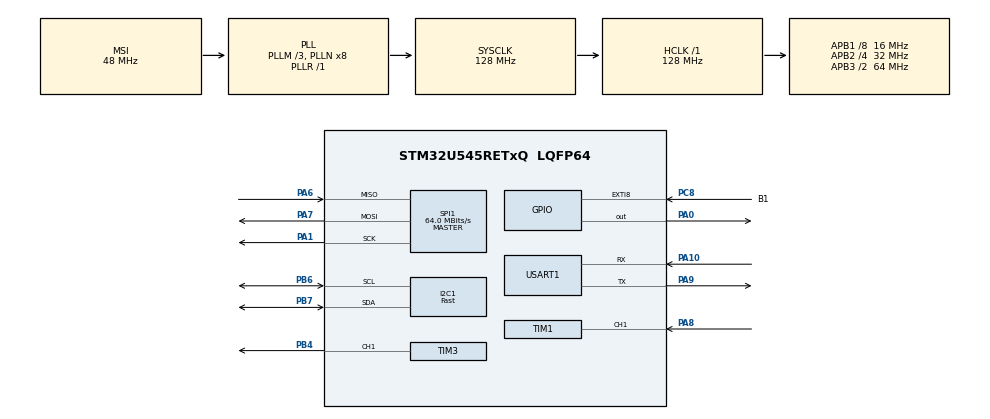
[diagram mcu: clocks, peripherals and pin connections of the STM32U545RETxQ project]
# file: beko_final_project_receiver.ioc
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CORTEX_M33_NS.userName=CORTEX_M33
I2C1.I2C_Speed_Mode=I2C_Fast
I2C1.Timing=0x0010061A
Mcu.Family=STM32U5
Mcu.Name=STM32U545RETxQ
Mcu.Package=LQFP64
NVIC.EXTI8_IRQn=true\:0\:0\:false\:false\:true\:true\:true\:true
NVIC.PriorityGroup=NVIC_PRIORITYGROUP_4
NVIC.TIM16_IRQn=true\:0\:0\:false\:false\:true\:true\:true\:true
NVIC.TIM1_CC_IRQn=true\:0\:0\:false\:false\:true\:true\:true\:true
PA0.Signal=GPIO_Output
PA1.Mode=Full_Duplex_Master
PA1.Signal=SPI1_SCK
PA10.Mode=Asynchronous
PA10.Signal=USART1_RX
PA6.Mode=Full_Duplex_Master
PA6.Signal=SPI1_MISO
PA7.Mode=Full_Duplex_Master
PA7.Signal=SPI1_MOSI
PA8.Signal=S_TIM1_CH1
PA9.Mode=Asynchronous
PA9.Signal=USART1_TX
PB4\ (NJTRST).Signal=S_TIM3_CH1
PB6.Mode=I2C
PB6.Signal=I2C1_SCL
PB7.Mode=I2C
PB7.Signal=I2C1_SDA
PC8.GPIO_Label=B1
PC8.Signal=GPXTI8
PWR.PowerMode=PWR_SMPS_SUPPLY
ProjectManager.HeapSize=0x200
ProjectManager.StackSize=0x400
ProjectManager.TargetToolchain=STM32CubeIDE
RCC.ADCFreq_Value=16000000
RCC.AHBFreq_Value=128000000
RCC.APB1CLKDivider=RCC_HCLK_DIV8
RCC.APB1Freq_Value=16000000
RCC.APB1TimFreq_Value=32000000
RCC.APB2CLKDivider=RCC_HCLK_DIV4
RCC.APB2Freq_Value=32000000
RCC.APB2TimFreq_Value=64000000
RCC.APB3CLKDivider=RCC_HCLK_DIV2
RCC.APB3Freq_Value=64000000
RCC.CortexFreq_Value=128000000
RCC.DACCLockSelectionVirtual=RCC_DAC1CLKSOURCE_LSI
RCC.DACCLockSelectionVirtualString=RCC_DAC1CLKSOURCE_LSI
RCC.EPOD_VALUE=48000000
RCC.HCLKFreq_Value=128000000
RCC.HSE_VALUE=16000000
RCC.HSI48_VALUE=48000000
RCC.HSI_VALUE=16000000
RCC.LSE_VALUE=32768
RCC.LSIDIV_VALUE=32000
RCC.LockedElements=APB1Output
RCC.MSIClockRange=RCC_MSIRANGE_0
RCC.MSI_VALUE=48000000
RCC.PLL1R=1
RCC.PLL2FRACN=0
RCC.PLL3FRACN=0
RCC.PLLFRACN=0
RCC.PLLM=3
RCC.PLLN=8
RCC.SYSCLKFreq_VALUE=128000000
RCC.SYSCLKSource=RCC_SYSCLKSOURCE_PLLCLK
RCC.USBFreq_Value=48000000
RCC.VCOOutputFreq_Value=128000000
RTC.Date=12
RTC.Format=RTC_FORMAT_BIN
RTC.Hours=15
RTC.Minutes=37
RTC.Month=RTC_MONTH_MARCH
RTC.WeekDay=RTC_WEEKDAY_THURSDAY
RTC.Year=26
SH.S_TIM1_CH1.0=TIM1_CH1,Input_Capture1_from_TI1
SH.S_TIM3_CH1.0=TIM3_CH1,PWM Generation1 CH1
SPI1.CalculateBaudRate=64.0 MBits/s
SPI1.Direction=SPI_DIRECTION_2LINES
SPI1.Mode=SPI_MODE_MASTER
SPI1.VirtualType=VM_MASTER
TIM1.Channel-Input_Capture1_from_TI1=TIM_CHANNEL_1
TIM1.ICPolarity_CH1=TIM_INPUTCHANNELPOLARITY_BOTHEDGE
TIM1.Prescaler=63
TIM16.Prescaler=63
TIM3.Channel-PWM\ Generation1\ CH1=TIM_CHANNEL_1
TIM3.PeriodNoDither=1599
TIM3.Prescaler=399
USART1.VirtualMode-Asynchronous=VM_ASYNC
VP_CRC_VS_CRC.Mode=CRC_Activate
VP_ICACHE_VS_ICACHE.Mode=DirectMappedCache
VP_LPBAMQUEUE_VS_QUEUE.Mode=QUEUEMODE
VP_LPBAM_VS_SIG1.Mode=SmartRun
VP_LPBAM_VS_SIG4.Mode=LPDMA1
VP_MEMORYMAP_VS_MEMORYMAP.Mode=CurAppReg
VP_NUCLEO-U545RE-Q_VS_BSP_COMMON.Mode=COMMON
VP_PWR_VS_LPOM.Mode=PowerOptimisation
VP_PWR_VS_SECSignals.Mode=Security/Privilege
VP_RTC_VS_RTC_Activate.Mode=RTC_Enabled
VP_RTC_VS_RTC_Calendar.Mode=RTC_Calendar
VP_TIM16_VS_ClockSourceINT.Mode=Enable_Timer
board=NUCLEO-U545RE-Q

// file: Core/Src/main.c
/* USER CODE BEGIN Header */
/**
  ******************************************************************************
  * @file           : main.c
  * @brief          : Main program body
  ******************************************************************************
  * @attention
  *
  * Copyright (c) 2026 STMicroelectronics.
  * All rights reserved.
  *
  * This software is licensed under terms that can be found in the LICENSE file
  * in the root directory of this software component.
  * If no LICENSE file comes with this software, it is provided AS-IS.
  *
  ******************************************************************************
  */
/* USER CODE END Header */
#include "main.h"
#include "crc.h"
#include "i2c.h"
#include "icache.h"
#include "rtc.h"
#include "spi.h"
#include "tim.h"
#include "usart.h"
#include "gpio.h"

/* USER CODE BEGIN Includes */
#include <stdio.h>
#include <string.h>
#include "hash/cmox_hash_retvals.h"
#include "hash/cmox_sha256.h"
#include "cmox_init.h"
#include "hash/cmox_hash.h"
#include "cmox_crypto.h"
#include <stdbool.h>
#include "app_template.h"
/* USER CODE END Includes */

void SystemClock_Config(void);
static void SystemPower_Config(void);
/* USER CODE BEGIN PFP */

int __io_putchar(int ch) {
	HAL_UART_Transmit(&huart1, (uint8_t*)&ch, 1, HAL_MAX_DELAY);
	return 1;
}

void btox(uint8_t *hexbuf, const uint8_t *binbuf, int n) {
	n *= 2;
	hexbuf[n] = 0x00;
	const char hex[]= "0123456789abcdef";
	while ( -- n >= 0)
		hexbuf[n] = hex[(binbuf[n>>1] >> ((1-(n&1)) << 2)) & 0xF];
}

/* USER CODE END PFP */

/* USER CODE BEGIN 0 */
//void HAL_GPIO_EXTI_Falling_Callback(uint16_t GPIO_Pin)
//{
//	if (GPIO_Pin == GPIO_PIN_13)
//	{
////		HAL_GPIO_TogglePin(LED_GREEN_GPIO_Port, LED_GREEN_Pin);
//	}
//}
/* USER CODE END 0 */

int main(void)
{

  /* MCU Configuration--------------------------------------------------------*/

  /* Reset of all peripherals, Initializes the Flash interface and the Systick. */
  HAL_Init();

  /* Configure the System Power */
  SystemPower_Config();

  /* Configure the system clock */
  SystemClock_Config();

  /* Initialize all configured peripherals */
  MX_GPIO_Init();
  MX_ICACHE_Init();
  MX_USART1_UART_Init();
  MX_I2C1_Init();
  MX_RTC_Init();
  MX_SPI1_Init();
  MX_CRC_Init();
  MX_TIM16_Init();
  MX_TIM3_Init();
  MX_TIM1_Init();
  /* USER CODE BEGIN 2 */
//  lcd_init();
//  lcd_backlight(1);
//  char* msg = "Swieci";
//  RTC_TimeTypeDef sTime;
//  RTC_DateTypeDef sDate;
//  char msg[100];

  /* USER CODE END 2 */

  /* Infinite loop */
  /* USER CODE BEGIN WHILE */

//
// =========================== HASH BEGIN ===========================
//
//  cmox_hash_retval_t retval;
//  uint8_t data[] = "Alice has a cat.";
//  uint8_t hash[CMOX_SHA256_SIZE];
//  size_t computed_size;
//  uint8_t buffer[2*CMOX_SHA256_SIZE+1];
//  if (cmox_initialize(NULL) != CMOX_INIT_SUCCESS)
//	  Error_Handler();
//
//  retval = cmox_hash_compute(CMOX_SHA256_ALGO, data, strlen((char*)data), hash, CMOX_SHA256_SIZE, &computed_size);
//
//  if (retval != CMOX_HASH_SUCCESS)
//	  Error_Handler();
//  printf("Input data (ASCII): %s (length=%d) \n\r", data, strlen((char*)data));
//  btox(buffer, data, strlen((char*)data));
//  printf("Input data (hex) : %s\n\r", buffer);
// =========================== HASH END ===========================
// =========================== AES BEGIN ===========================
//  cmox_cbc_handle_t Cbc_Ctx;
//  #define CHUNK_SIZE  48u
//
//  const uint8_t Key[] =
//  {
//    0x2b, 0x7e, 0x15, 0x16, 0x28, 0xae, 0xd2, 0xa6, 0xab, 0xf7, 0x15, 0x88, 0x09, 0xcf, 0x4f, 0x3c
//  };
//  const uint8_t IV[] =
//  {
//    0x00, 0x01, 0x02, 0x03, 0x04, 0x05, 0x06, 0x07, 0x08, 0x09, 0x0a, 0x0b, 0x0c, 0x0d, 0x0e, 0x0f
//  };
//
//  const uint8_t Plaintext[] =
//  {
//    0x6b, 0xc1, 0xbe, 0xe2, 0x2e, 0x40, 0x9f, 0x96, 0xe9, 0x3d, 0x7e, 0x11, 0x73, 0x93, 0x17, 0x2a,
//    0xae, 0x2d, 0x8a, 0x57, 0x1e, 0x03, 0xac, 0x9c, 0x9e, 0xb7, 0x6f, 0xac, 0x45, 0xaf, 0x8e, 0x51,
//    0x30, 0xc8, 0x1c, 0x46, 0xa3, 0x5c, 0xe4, 0x11, 0xe5, 0xfb, 0xc1, 0x19, 0x1a, 0x0a, 0x52, 0xef,
//    0xf6, 0x9f, 0x24, 0x45, 0xdf, 0x4f, 0x9b, 0x17, 0xad, 0x2b, 0x41, 0x7b, 0xe6, 0x6c, 0x37, 0x10
//  };
//  const uint8_t Expected_Ciphertext[] =
//  {
//    0x76, 0x49, 0xab, 0xac, 0x81, 0x19, 0xb2, 0x46, 0xce, 0xe9, 0x8e, 0x9b, 0x12, 0xe9, 0x19, 0x7d,
//    0x50, 0x86, 0xcb, 0x9b, 0x50, 0x72, 0x19, 0xee, 0x95, 0xdb, 0x11, 0x3a, 0x91, 0x76, 0x78, 0xb2,
//    0x73, 0xbe, 0xd6, 0xb8, 0xe3, 0xc1, 0x74, 0x3b, 0x71, 0x16, 0xe6, 0x9e, 0x22, 0x22, 0x95, 0x16,
//    0x3f, 0xf1, 0xca, 0xa1, 0x68, 0x1f, 0xac, 0x09, 0x12, 0x0e, 0xca, 0x30, 0x75, 0x86, 0xe1, 0xa7
//  };
//
//  uint8_t Computed_Ciphertext[sizeof(Expected_Ciphertext)];
//  uint8_t Computed_Plaintext[sizeof(Plaintext)];
//
//  cmox_cipher_retval_t retval;
//  size_t computed_size;
//
//  cmox_cipher_handle_t *cipher_ctx;
//
//  uint32_t index;
//
//
//  cmox_init_arg_t init_target = {CMOX_INIT_TARGET_AUTO, NULL};
//
//  if (cmox_initialize(&init_target) != CMOX_INIT_SUCCESS)
//  {
//    Error_Handler();
//  }
//
//  cipher_ctx = cmox_cbc_construct(&Cbc_Ctx, CMOX_AES_CBC_ENC);
//  if (cipher_ctx == NULL)
//  {
//    Error_Handler();
//  }
//
//  retval = cmox_cipher_init(cipher_ctx);
//  if (retval != CMOX_CIPHER_SUCCESS)
//  {
//    Error_Handler();
//  }
//
//  retval = cmox_cipher_setKey(cipher_ctx, Key, sizeof(Key));  /* AES key to use */
//  if (retval != CMOX_CIPHER_SUCCESS)
//  {
//    Error_Handler();
//  }
//
//  retval = cmox_cipher_setIV(cipher_ctx, IV, sizeof(IV));     /* Initialization vector */
//	if (retval != CMOX_CIPHER_SUCCESS)
//	{
//	  Error_Handler();
//	}
//
//  for (index = 0; index < (sizeof(Plaintext) - CHUNK_SIZE); index += CHUNK_SIZE)
//  {
//	    retval = cmox_cipher_append(cipher_ctx,
//	                                &Plaintext[index], CHUNK_SIZE,        /* Chunk of plaintext to encrypt */
//	                                Computed_Ciphertext, &computed_size); /* Data buffer to receive generated chunk
//	                                                                         of ciphertext */
//
//	    if (retval != CMOX_CIPHER_SUCCESS)
//	    {
//	      Error_Handler();
//	    }
//
//	    /* Verify generated data size is the expected one */
//	    if (computed_size != CHUNK_SIZE)
//	    {
//	      Error_Handler();
//	    }
//
//
//	    if (memcmp(&Expected_Ciphertext[index], Computed_Ciphertext, computed_size) != 0)
//	    {
//	      Error_Handler();
//	    }
//  }
//
//  if (index < sizeof(Plaintext))
//	{
//		retval = cmox_cipher_append(cipher_ctx,
//										&Plaintext[index],
//										sizeof(Plaintext) - index,              /* Last part of plaintext to encrypt */
//										Computed_Ciphertext, &computed_size);   /* Data buffer to receive generated last
//																				   part of ciphertext */
//		if (retval != CMOX_CIPHER_SUCCESS)
//		{
//		  Error_Handler();
//		}
//
//		if (computed_size != (sizeof(Plaintext) - index))
//		{
//		  Error_Handler();
//		}
//
//		if (memcmp(&Expected_Ciphertext[index], Computed_Ciphertext, computed_size) != 0)
//		{
//		  Error_Handler();
//		}
//	}
//
// 	    retval = cmox_cipher_cleanup(cipher_ctx);
// 	    if (retval != CMOX_CIPHER_SUCCESS)
// 	    {
// 	      Error_Handler();
// 	    }
// =========================== AES END ===========================
//  char* msg = "sometext\r\n";
//  app_main();

//  HAL_TIM_PWM_Start(&htim3, TIM_CHANNEL_1);
  app_main();
  while (1)
  {
		HAL_Delay(1000);
	  __HAL_TIM_SET_COMPARE(&htim3, TIM_CHANNEL_1, 120); // 90 degrees
	  HAL_Delay(1000);
	  __HAL_TIM_SET_COMPARE(&htim3, TIM_CHANNEL_1, 90); // 180 degrees
	  HAL_Delay(1000);
//	  __HAL_TIM_SET_COMPARE(&htim3, TIM_CHANNEL_1, 80);  // 0 degrees
//	      HAL_Delay(1000);
//	      __HAL_TIM_SET_COMPARE(&htim3, TIM_CHANNEL_1, 120); // 90 degrees
//	      HAL_Delay(1000);
//	      __HAL_TIM_SET_COMPARE(&htim3, TIM_CHANNEL_1, 240); // 180 degrees
//	      HAL_Delay(1000);
//	  HAL_RTC_GetTime(&hrtc, &sTime, RTC_FORMAT_BIN);
//	  HAL_RTC_GetDate(&hrtc, &sDate, RTC_FORMAT_BIN);
//
//	  snprintf(msg, sizeof(msg),
//	          "Time:%02d:%02d:%02d\r\nDate:20%02d-%02d-%02d (WD:%d)\r\n",
//	          sTime.Hours,
//	          sTime.Minutes,
//	          sTime.Seconds,
//	          sDate.Year,
//	          sDate.Month,
//	          sDate.Date,
//	          sDate.WeekDay);
//
//	 HAL_UART_Transmit(&huart1, (uint8_t*)msg, strlen(msg), HAL_MAX_DELAY);
//	 printf("Dioda sie swieci %s\r\n", msg);
//	 lcd_clear();
//	 lcd_set_cursor(0, 0);
//	 lcd_write_string(msg);
//	 HAL_Delay(1500);

    /* USER CODE END WHILE */

  }
}

void SystemClock_Config(void)
{
  RCC_OscInitTypeDef RCC_OscInitStruct = {0};
  RCC_ClkInitTypeDef RCC_ClkInitStruct = {0};

  /** Configure the main internal regulator output voltage
  */
  if (HAL_PWREx_ControlVoltageScaling(PWR_REGULATOR_VOLTAGE_SCALE1) != HAL_OK)
  {
    Error_Handler();
  }

  /** Initializes the CPU, AHB and APB buses clocks
  */
  RCC_OscInitStruct.OscillatorType = RCC_OSCILLATORTYPE_LSI|RCC_OSCILLATORTYPE_MSI;
  RCC_OscInitStruct.LSIState = RCC_LSI_ON;
  RCC_OscInitStruct.MSIState = RCC_MSI_ON;
  RCC_OscInitStruct.MSICalibrationValue = RCC_MSICALIBRATION_DEFAULT;
  RCC_OscInitStruct.MSIClockRange = RCC_MSIRANGE_0;
  RCC_OscInitStruct.LSIDiv = RCC_LSI_DIV1;
  RCC_OscInitStruct.PLL.PLLState = RCC_PLL_ON;
  RCC_OscInitStruct.PLL.PLLSource = RCC_PLLSOURCE_MSI;
  RCC_OscInitStruct.PLL.PLLMBOOST = RCC_PLLMBOOST_DIV4;
  RCC_OscInitStruct.PLL.PLLM = 3;
  RCC_OscInitStruct.PLL.PLLN = 8;
  RCC_OscInitStruct.PLL.PLLP = 2;
  RCC_OscInitStruct.PLL.PLLQ = 2;
  RCC_OscInitStruct.PLL.PLLR = 1;
  RCC_OscInitStruct.PLL.PLLRGE = RCC_PLLVCIRANGE_1;
  RCC_OscInitStruct.PLL.PLLFRACN = 0;
  if (HAL_RCC_OscConfig(&RCC_OscInitStruct) != HAL_OK)
  {
    Error_Handler();
  }

  /** Initializes the CPU, AHB and APB buses clocks
  */
  RCC_ClkInitStruct.ClockType = RCC_CLOCKTYPE_HCLK|RCC_CLOCKTYPE_SYSCLK
                              |RCC_CLOCKTYPE_PCLK1|RCC_CLOCKTYPE_PCLK2
                              |RCC_CLOCKTYPE_PCLK3;
  RCC_ClkInitStruct.SYSCLKSource = RCC_SYSCLKSOURCE_PLLCLK;
  RCC_ClkInitStruct.AHBCLKDivider = RCC_SYSCLK_DIV1;
  RCC_ClkInitStruct.APB1CLKDivider = RCC_HCLK_DIV8;
  RCC_ClkInitStruct.APB2CLKDivider = RCC_HCLK_DIV4;
  RCC_ClkInitStruct.APB3CLKDivider = RCC_HCLK_DIV2;

  if (HAL_RCC_ClockConfig(&RCC_ClkInitStruct, FLASH_LATENCY_3) != HAL_OK)
  {
    Error_Handler();
  }
}

/**
  * @brief Power Configuration
  * @retval None
  */
static void SystemPower_Config(void)
{

  /*
   * Switch to SMPS regulator instead of LDO
   */
  if (HAL_PWREx_ConfigSupply(PWR_SMPS_SUPPLY) != HAL_OK)
  {
    Error_Handler();
  }
}

void Error_Handler(void)
{
  __disable_irq();
  while (1)
  {
  }
}
